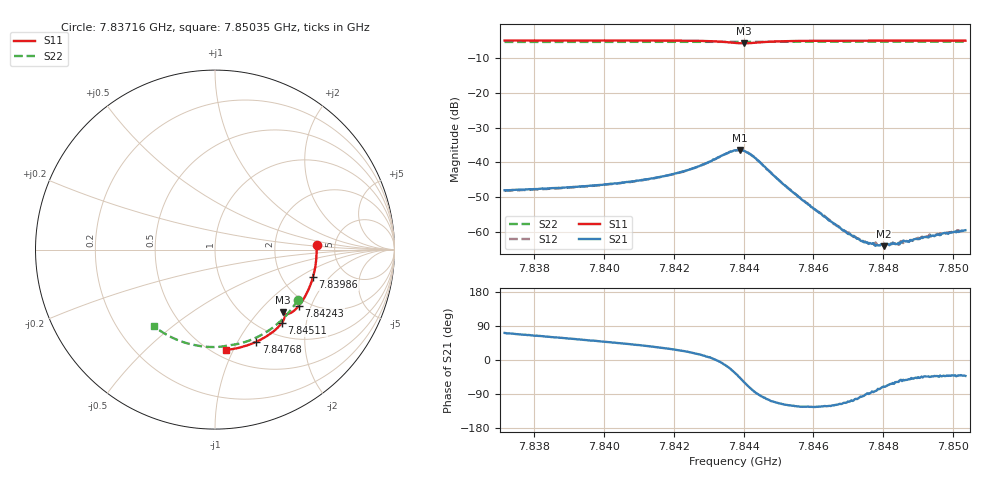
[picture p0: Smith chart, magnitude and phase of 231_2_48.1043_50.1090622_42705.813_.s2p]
#  HZ  S  RI  R  50.00
! Rohde & Schwarz Vector Network Analyzer
! Rohde-Schwarz,ZNB20-2Port,1311601062101988,3.16
! Created: UTC 12/23/2023, 3:57:46 AM
! freq[Hz]  re:S11  im:S11  re:S21  im:S21  re:S12  im:S12  re:S22  im:S22
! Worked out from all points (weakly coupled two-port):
!   401 points, 7.83716 GHz to 7.85035 GHz, reference 50 ohm
!   highest |S21| = -36.43 dB at 7.84388 GHz (marker M1); lowest = -64.1 dB at 7.84801 GHz (marker M2)
!   lowest |S11| = -5.8 dB at 7.84402 GHz (marker M3), VSWR 3.13, Z = 72.6 - j68.8 ohm
!   |S11| at or under -10 dB: nowhere
!   |S22| runs from -5.4 to -5.3 dB; largest |S21 - S12| = 0.00026
!   S11 on the Smith chart (normalised r, x): 7.83716 GHz: 3.59, +0.27; 7.83986 GHz: 2.96, -1.33; 7.84243 GHz: 1.79, -1.64; 7.84511 GHz: 1.24, -1.46; 7.84768 GHz: 0.80, -1.20; 7.85035 GHz: 0.57, -0.93
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7.837157e9  0.5657 0.0257  0.00126 0.00375  0.00127 0.00366  0.4617 -0.2792
7.839366e9  0.5538 -0.1206  0.00267 0.00363  0.00267 0.00357  0.3643 -0.3991
7.839861e9  0.5459 -0.153  0.00307 0.00359  0.00304 0.00355  0.3381 -0.4218
7.841576e9  0.5015 -0.2615  0.00515 0.00334  0.00508 0.00336  0.237 -0.4866
7.842434e9  0.4671 -0.313  0.0073 0.0028  0.00729 0.00284  0.1812 -0.5102
7.843291e9  0.4155 -0.3557  0.0119 -0.000752  0.0118 -0.000704  0.1233 -0.5262
7.843753e9  0.3826 -0.3564  0.0123 -0.00836  0.0123 -0.00831  0.0922 -0.5312
7.843885e9  0.3788 -0.3519  0.0105 -0.0108  0.0105 -0.0107  0.0839 -0.5322
7.844017e9  0.3796 -0.3483  0.00755 -0.0124  0.0076 -0.0122  0.0757 -0.5338
7.844347e9  0.3881 -0.3564  0.000761 -0.0114  0.000778 -0.0113  0.0542 -0.5377
7.845105e9  0.3733 -0.4074  -0.00222 -0.00447  -0.00217 -0.00452  0.00129 -0.5427
7.845963e9  0.3304 -0.4522  -0.00126 -0.00187  -0.00124 -0.00187  -0.0591 -0.5404
7.846952e9  0.2741 -0.491  -0.000364 -0.000896  -0.00035 -0.000923  -0.128 -0.5291
7.847381e9  0.2484 -0.5049  -8.82e-05 -0.000728  -8.63e-05 -0.00075  -0.1571 -0.5214
7.847678e9  0.2304 -0.5136  8.16e-05 -0.000667  6.95e-05 -0.000666  -0.1769 -0.5153
7.847843e9  0.2201 -0.5181  0.000154 -0.000622  0.00014 -0.000641  -0.1877 -0.5115
7.848008e9  0.21 -0.5223  0.000213 -0.000584  0.000228 -0.000596  -0.1986 -0.5075
7.848173e9  0.1996 -0.5264  0.000275 -0.000578  0.000299 -0.000622  -0.2094 -0.5033
7.848404e9  0.1851 -0.5316  0.000357 -0.000564  0.000371 -0.0006  -0.2243 -0.4968
7.848568e9  0.1745 -0.5351  0.000457 -0.000591  0.000403 -0.000559  -0.2349 -0.4921
7.849723e9  0.1001 -0.5538  0.000719 -0.000631  0.000701 -0.000598  -0.3054 -0.4525
7.850349e9  0.0587 -0.5592  0.000785 -0.000705  0.000841 -0.000715  -0.3411 -0.4267
